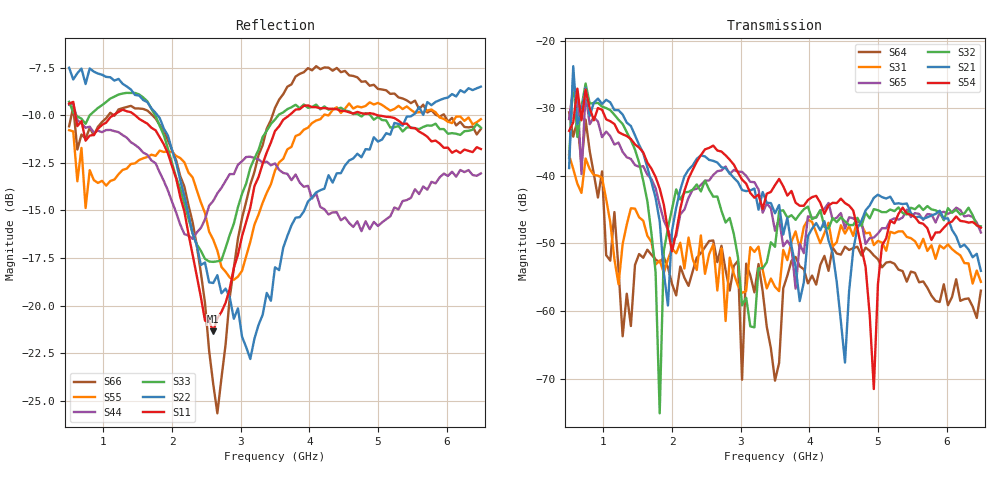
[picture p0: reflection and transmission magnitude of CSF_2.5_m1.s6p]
!Keysight Technologies,M9804A,MY58100912,A.14.10.03
!Date: Thursday, April 27, 2023 10:28:33
!Correction: S11(C  6-Port  )
!S12(C  6-Port  )
!S13(C  6-Port  )
!S14(C  6-Port  )
!S15(C  6-Port  )
!S16(C  6-Port  )
!S21(C  6-Port  )
!S22(C  6-Port  )
!S23(C  6-Port  )
!S24(C  6-Port  )
!S25(C  6-Port  )
!S26(C  6-Port  )
!S31(C  6-Port  )
!S32(C  6-Port  )
!S33(C  6-Port  )
!S34(C  6-Port  )
!S35(C  6-Port  )
!S36(C  6-Port  )
!S41(C  6-Port  )
!S42(C  6-Port  )
!S43(C  6-Port  )
!S44(C  6-Port  )
!S45(C  6-Port  )
!S46(C  6-Port  )
!S51(C  6-Port  )
!S52(C  6-Port  )
!S53(C  6-Port  )
!S54(C  6-Port  )
!S55(C  6-Port  )
!S56(C  6-Port  )
!S61(C  6-Port  )
!S62(C  6-Port  )
!S63(C  6-Port  )
!S64(C  6-Port  )
!S65(C  6-Port  )
!S66(C  6-Port  )
!S6P File: Measurement: :
# Hz S  RI  R 50
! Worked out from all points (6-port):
!   101 points, 500 MHz to 6.5 GHz, reference 50 ohm
!   strongest paths, dB at 500 MHz, 2 GHz, 3.5 GHz, 5 GHz, 6.5 GHz:
!     S54: -33.3, -51.2, -41.4, -56.0, -47.7
!     S21: -38.8, -48.1, -45.5, -42.8, -54.1
!     S32: -37.3, -44.9, -50.5, -45.1, -47.4
!     S65: -31.6, -49.7, -48.1, -48.5, -48.4
!     S31: -36.9, -50.7, -56.4, -49.6, -55.7
!     S64: -30.6, -56.0, -70.3, -52.3, -57.0
!   lowest |S11| = -21.3 dB at 2.6 GHz (marker M1), VSWR 1.19, Z = 42.4 + j2.3 ohm
!   |S11| at or under -10 dB: 592.8 MHz to 1.147 GHz (554.4 MHz wide, 63.7 % of centre); 1.46 GHz to 3.71 GHz (2.25 GHz wide, 87 % of centre); 4.988 GHz to end of sweep
